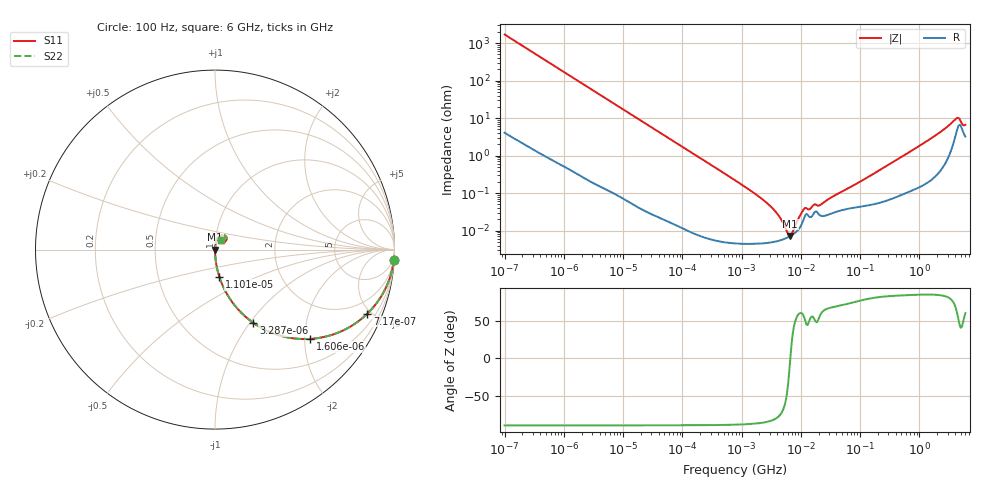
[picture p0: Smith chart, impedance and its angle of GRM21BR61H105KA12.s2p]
!Murata Part Number: GRM21BR61H105KA12
!These Parameters are Measured in Series Mode Connection
!Data Generated on Mar 30, 2021
!  o--ll--o
!Port1  Port2
!  o------o
!Operation Temp=25[degC], DC Bias Voltage=0[V]
!Freq. Start=100[Hz] Stop=6[GHz] 401[Steps]
# Hz S RI R 50
!Freq.(Hz) S11(Real) S11(Imag) S21(Real) S21(Imag) S12(Real) S12(Imag) S22(Real) S22(Imag)
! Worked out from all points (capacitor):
!   401 points, 100 Hz to 6 GHz, reference 50 ohm
!   read as one part in series: C = 935 nF near 109 Hz
!   lowest |Z| = 7.16 mohm at 6.644 MHz (marker M1)
!   series resonance near 6.646 MHz, so ESL is about 610 pH
!   S11 on the Smith chart (normalised r, x): 100 Hz: 1, -34; 717 Hz: 1.01, -4.76; 1.606 kHz: 1.01, -2.13; 3.287 kHz: 1.00, -1.04; 11.01 kHz: 1.00, -0.31; 6 GHz: 1.06, +0.12
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100  0.9964 -0.0585  0.00358 0.0585  0.00358 0.0585  0.9964 -0.0585
335  0.9624 -0.189  0.0376 0.189  0.0376 0.189  0.9624 -0.189
717  0.8492 -0.3564  0.1508 0.3564  0.1508 0.3564  0.8492 -0.3564
1606  0.5313 -0.4974  0.4687 0.4974  0.4687 0.4974  0.5313 -0.4974
2008  0.4206 -0.4921  0.5794 0.4921  0.5794 0.4921  0.4206 -0.4921
3287  0.2142 -0.4086  0.7858 0.4086  0.7858 0.4086  0.2142 -0.4086
5625  0.0859 -0.2782  0.9141 0.2782  0.9141 0.2782  0.0859 -0.2782
11009  0.0244 -0.1521  0.9756 0.1521  0.9756 0.1521  0.0244 -0.1521
40335  0.00204 -0.0426  0.998 0.0426  0.998 0.0426  0.00204 -0.0426
774597  5.05e-05 -0.00221  0.9999 0.00221  0.9999 0.00221  5.05e-05 -0.00221
2837864  4.77e-05 -0.000501  1 0.000501  1 0.000501  4.77e-05 -0.000501
4060267  5.28e-05 -0.00027  0.9999 0.00027  0.9999 0.00027  5.28e-05 -0.00027
5809218  6.42e-05 -7.16e-05  0.9999 7.16e-05  0.9999 7.16e-05  6.42e-05 -7.16e-05
6644369  7.16e-05 -1e-07  0.9999 1e-07  0.9999 1e-07  7.16e-05 -1e-07
7599586  8.22e-05 7.3e-05  0.9999 -7.3e-05  0.9999 -7.3e-05  8.22e-05 7.3e-05
1.137099e7  0.000216 0.000314  0.9998 -0.000314  0.9998 -0.000314  0.000216 0.000314
1.555665e7  0.000245 0.000366  0.9998 -0.000366  0.9998 -0.000366  0.000245 0.000366
2.128304e7  0.000254 0.00041  0.9997 -0.00041  0.9997 -0.00041  0.000254 0.00041
3.124326e8  0.000702 0.00586  0.9993 -0.00586  0.9993 -0.00586  0.000702 0.00586
1.712697e9  0.00343 0.0311  0.9966 -0.0311  0.9966 -0.0311  0.00343 0.0311
4.193612e9  0.0452 0.0816  0.9548 -0.0816  0.9548 -0.0816  0.0452 0.0816
6e9  0.0344 0.0543  0.9656 -0.0543  0.9656 -0.0543  0.0344 0.0543
